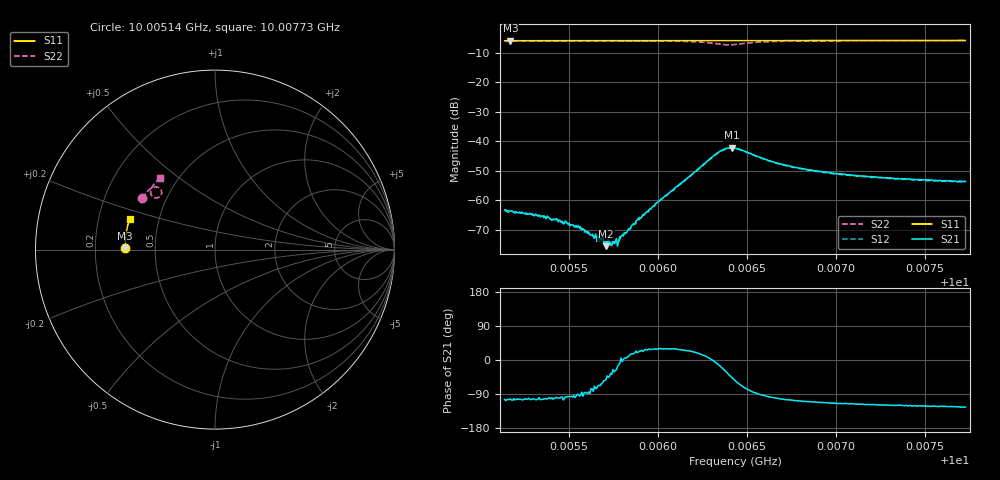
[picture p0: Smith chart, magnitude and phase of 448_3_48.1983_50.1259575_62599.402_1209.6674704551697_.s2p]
#  HZ  S  RI  R  50.00
! Rohde & Schwarz Vector Network Analyzer
! Rohde-Schwarz,ZNB20-2Port,1311601062101988,3.16
! Created: UTC 3/20/2024, 11:56:08 AM
! freq[Hz]  re:S11  im:S11  re:S21  im:S21  re:S12  im:S12  re:S22  im:S22
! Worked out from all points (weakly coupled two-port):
!   401 points, 10.00514 GHz to 10.00773 GHz, reference 50 ohm
!   highest |S21| = -42.21 dB at 10.00641 GHz (marker M1); lowest = -75.5 dB at 10.00571 GHz (marker M2)
!   lowest |S11| = -6.0 dB at 10.00517 GHz (marker M3), VSWR 3.00, Z = 16.7 + j0.363 ohm
!   |S11| at or under -10 dB: nowhere
!   |S22| runs from -7.4 to -6.0 dB; largest |S21 - S12| = 0.00046
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1.0005138e10  -0.5004 0.00615  -0.000168 -0.000672  -0.000125 -0.000679  -0.4047 0.2856
1.000517e10  -0.5002 0.00818  -0.000149 -0.000648  -0.000124 -0.00063  -0.4034 0.2874
1.0005423e10  -0.5003 0.0247  -8.6e-05 -0.000463  -8.15e-05 -0.000454  -0.3931 0.3023
1.0005572e10  -0.5 0.0344  3.03e-05 -0.000327  1.15e-05 -0.000322  -0.3865 0.3112
1.0005617e10  -0.4999 0.0374  5.23e-06 -0.000261  4.51e-05 -0.000269  -0.3845 0.314
1.0005643e10  -0.4998 0.0389  8.33e-05 -0.000217  6.84e-05 -0.000211  -0.383 0.3156
1.0005662e10  -0.4998 0.0403  9.72e-05 -0.000241  8.68e-05 -0.000243  -0.382 0.3167
1.0005675e10  -0.4998 0.0411  8.5e-05 -0.00021  8.42e-05 -0.000184  -0.3813 0.3176
1.0005708e10  -0.4996 0.0432  0.000104 -0.000132  0.000124 -0.000136  -0.3797 0.3194
1.0005746e10  -0.4994 0.0458  0.000174 -8.2e-05  0.000183 -0.000104  -0.3776 0.322
1.0005772e10  -0.4993 0.0474  0.00016 -5.12e-05  0.000216 -2.71e-05  -0.3761 0.3237
1.0005792e10  -0.4992 0.0486  0.000244 2.16e-05  0.000239 1.33e-05  -0.3751 0.3249
1.0005895e10  -0.4987 0.0555  0.000473 0.000202  0.000421 0.000213  -0.3683 0.3315
1.0006005e10  -0.4981 0.0625  0.000837 0.00048  0.000804 0.000502  -0.3597 0.3389
1.0006329e10  -0.4951 0.0834  0.00615 -0.0009  0.00601 -0.000574  -0.2994 0.3297
1.0006374e10  -0.4946 0.0858  0.00656 -0.0034  0.00658 -0.00301  -0.2992 0.3072
1.0006413e10  -0.4942 0.0881  0.00541 -0.00556  0.00556 -0.00516  -0.313 0.2915
1.0006433e10  -0.4942 0.0893  0.00445 -0.00619  0.00467 -0.00582  -0.3225 0.2881
1.0006633e10  -0.4925 0.1022  -0.000668 -0.00457  -0.000443 -0.00453  -0.3587 0.3245
1.0006866e10  -0.49 0.117  -0.00115 -0.00304  -0.000975 -0.00303  -0.3493 0.3511
1.00073e10  -0.4835 0.1443  -0.00117 -0.00211  -0.00106 -0.00209  -0.3271 0.3788
1.0007727e10  -0.4757 0.1709  -0.00118 -0.00173  -0.00107 -0.00172  -0.3052 0.3996
